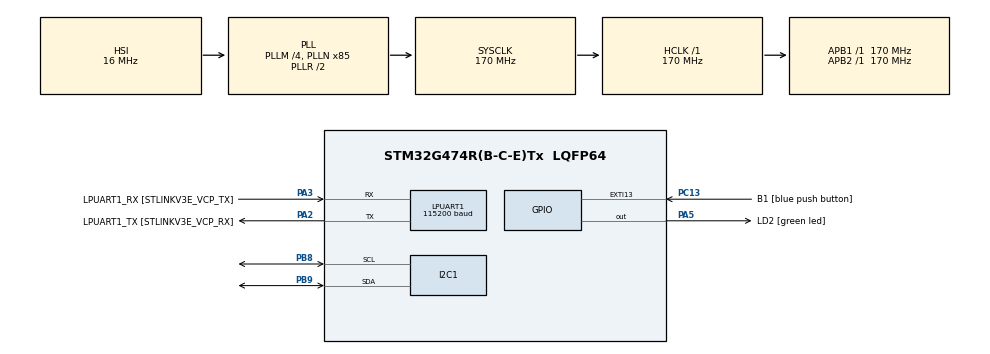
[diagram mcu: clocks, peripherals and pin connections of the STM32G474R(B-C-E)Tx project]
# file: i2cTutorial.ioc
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Dma.I2C1_TX.0.Direction=DMA_MEMORY_TO_PERIPH
Dma.I2C1_TX.0.EventEnable=DISABLE
Dma.I2C1_TX.0.Instance=DMA1_Channel1
Dma.I2C1_TX.0.MemDataAlignment=DMA_MDATAALIGN_BYTE
Dma.I2C1_TX.0.MemInc=DMA_MINC_ENABLE
Dma.I2C1_TX.0.Mode=DMA_NORMAL
Dma.I2C1_TX.0.PeriphDataAlignment=DMA_PDATAALIGN_BYTE
Dma.I2C1_TX.0.PeriphInc=DMA_PINC_DISABLE
Dma.I2C1_TX.0.Polarity=HAL_DMAMUX_REQ_GEN_RISING
Dma.I2C1_TX.0.Priority=DMA_PRIORITY_LOW
Dma.I2C1_TX.0.RequestNumber=1
Dma.I2C1_TX.0.SignalID=NONE
Dma.I2C1_TX.0.SyncEnable=DISABLE
Dma.I2C1_TX.0.SyncPolarity=HAL_DMAMUX_SYNC_NO_EVENT
Dma.I2C1_TX.0.SyncRequestNumber=1
Dma.I2C1_TX.0.SyncSignalID=NONE
Dma.LPUART1_RX.1.Direction=DMA_PERIPH_TO_MEMORY
Dma.LPUART1_RX.1.EventEnable=DISABLE
Dma.LPUART1_RX.1.Instance=DMA1_Channel2
Dma.LPUART1_RX.1.MemDataAlignment=DMA_MDATAALIGN_BYTE
Dma.LPUART1_RX.1.MemInc=DMA_MINC_ENABLE
Dma.LPUART1_RX.1.Mode=DMA_NORMAL
Dma.LPUART1_RX.1.PeriphDataAlignment=DMA_PDATAALIGN_BYTE
Dma.LPUART1_RX.1.PeriphInc=DMA_PINC_DISABLE
Dma.LPUART1_RX.1.Polarity=HAL_DMAMUX_REQ_GEN_RISING
Dma.LPUART1_RX.1.Priority=DMA_PRIORITY_LOW
Dma.LPUART1_RX.1.RequestNumber=1
Dma.LPUART1_RX.1.SignalID=NONE
Dma.LPUART1_RX.1.SyncEnable=DISABLE
Dma.LPUART1_RX.1.SyncPolarity=HAL_DMAMUX_SYNC_NO_EVENT
Dma.LPUART1_RX.1.SyncRequestNumber=1
Dma.LPUART1_RX.1.SyncSignalID=NONE
Dma.LPUART1_TX.2.Direction=DMA_MEMORY_TO_PERIPH
Dma.LPUART1_TX.2.EventEnable=DISABLE
Dma.LPUART1_TX.2.Instance=DMA1_Channel3
Dma.LPUART1_TX.2.MemDataAlignment=DMA_MDATAALIGN_BYTE
Dma.LPUART1_TX.2.MemInc=DMA_MINC_ENABLE
Dma.LPUART1_TX.2.Mode=DMA_NORMAL
Dma.LPUART1_TX.2.PeriphDataAlignment=DMA_PDATAALIGN_BYTE
Dma.LPUART1_TX.2.PeriphInc=DMA_PINC_DISABLE
Dma.LPUART1_TX.2.Polarity=HAL_DMAMUX_REQ_GEN_RISING
Dma.LPUART1_TX.2.Priority=DMA_PRIORITY_LOW
Dma.LPUART1_TX.2.RequestNumber=1
Dma.LPUART1_TX.2.SignalID=NONE
Dma.LPUART1_TX.2.SyncEnable=DISABLE
Dma.LPUART1_TX.2.SyncPolarity=HAL_DMAMUX_SYNC_NO_EVENT
Dma.LPUART1_TX.2.SyncRequestNumber=1
Dma.LPUART1_TX.2.SyncSignalID=NONE
Dma.Request0=I2C1_TX
Dma.Request1=LPUART1_RX
Dma.Request2=LPUART1_TX
I2C1.I2C_Fall_Time=0
I2C1.I2C_Rise_Time=0
I2C1.Timing=0x30A0A7FB
LPUART1.BaudRate=115200
Mcu.Family=STM32G4
Mcu.Name=STM32G474R(B-C-E)Tx
Mcu.Package=LQFP64
NVIC.DMA1_Channel1_IRQn=true\:0\:0\:false\:true\:true\:2\:false\:true\:true
NVIC.DMA1_Channel2_IRQn=true\:0\:0\:false\:false\:true\:false\:true\:true
NVIC.DMA1_Channel3_IRQn=true\:0\:0\:false\:false\:true\:false\:true\:true
NVIC.EXTI15_10_IRQn=true\:0\:0\:false\:false\:true\:true\:true\:true
NVIC.I2C1_EV_IRQn=true\:0\:0\:false\:true\:true\:1\:true\:true\:true
NVIC.LPUART1_IRQn=true\:0\:0\:false\:true\:true\:3\:true\:true\:true
NVIC.PriorityGroup=NVIC_PRIORITYGROUP_4
PA13.GPIO_Label=T_SWDIO
PA13.Mode=Serial_Wire
PA13.Signal=SYS_JTMS-SWDIO
PA14.GPIO_Label=T_SWCLK
PA14.Mode=Serial_Wire
PA14.Signal=SYS_JTCK-SWCLK
PA2.GPIO_Label=LPUART1_TX [STLINKV3E_VCP_RX]
PA2.Mode=Asynchronous
PA2.Signal=LPUART1_TX
PA3.GPIO_Label=LPUART1_RX [STLINKV3E_VCP_TX]
PA3.Mode=Asynchronous
PA3.Signal=LPUART1_RX
PA5.GPIO_Label=LD2 [green led]
PA5.Signal=GPIO_Output
PB3.GPIO_Label=T_SWO
PB3.Signal=SYS_JTDO-SWO
PB8-BOOT0.GPIO_Pu=GPIO_PULLUP
PB8-BOOT0.GPIO_Speed=GPIO_SPEED_FREQ_VERY_HIGH
PB8-BOOT0.Mode=I2C
PB8-BOOT0.Signal=I2C1_SCL
PB9.Mode=I2C
PB9.Signal=I2C1_SDA
PC13.GPIO_Label=B1 [blue push button]
PC13.Signal=GPXTI13
PC14-OSC32_IN.GPIO_Label=RCC_OSC32_IN
PC14-OSC32_IN.Mode=LSE-External-Oscillator
PC14-OSC32_IN.Signal=RCC_OSC32_IN
PC15-OSC32_OUT.GPIO_Label=RCC_OSC32_OUT
PC15-OSC32_OUT.Mode=LSE-External-Oscillator
PC15-OSC32_OUT.Signal=RCC_OSC32_OUT
PF0-OSC_IN.GPIO_Label=RCC_OSC_IN
PF0-OSC_IN.Mode=HSE-External-Oscillator
PF0-OSC_IN.Signal=RCC_OSC_IN
PF1-OSC_OUT.GPIO_Label=RCC_OSC_OUT
PF1-OSC_OUT.Mode=HSE-External-Oscillator
PF1-OSC_OUT.Signal=RCC_OSC_OUT
ProjectManager.HeapSize=0x200
ProjectManager.StackSize=0x400
ProjectManager.TargetToolchain=Makefile
RCC.ADC12Freq_Value=170000000
RCC.ADC345Freq_Value=170000000
RCC.AHBFreq_Value=170000000
RCC.APB1Freq_Value=170000000
RCC.APB1TimFreq_Value=170000000
RCC.APB2Freq_Value=170000000
RCC.APB2TimFreq_Value=170000000
RCC.CortexFreq_Value=170000000
RCC.EXTERNAL_CLOCK_VALUE=12288000
RCC.HCLKFreq_Value=170000000
RCC.HSE_VALUE=24000000
RCC.HSI48_VALUE=48000000
RCC.HSI_VALUE=16000000
RCC.PLLM=RCC_PLLM_DIV4
RCC.PLLN=85
RCC.RTCClockSelection=RCC_RTCCLKSOURCE_LSE
RCC.SYSCLKFreq_VALUE=170000000
RCC.SYSCLKSource=RCC_SYSCLKSOURCE_PLLCLK
RCC.USBFreq_Value=170000000
RCC.VCOOutputFreq_Value=340000000
RTC.Hours=10
RTC.Minutes=10
RTC.Seconds=10
RTC.Year=20
VP_RTC_VS_RTC_Activate.Mode=RTC_Enabled
VP_RTC_VS_RTC_Calendar.Mode=RTC_Calendar
VP_SYS_VS_DBSignals.Mode=DisableDeadBatterySignals
board=NUCLEO-G474RE

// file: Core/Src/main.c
/* USER CODE BEGIN Header */
/**
  ******************************************************************************
  * @file           : main.c
  * @brief          : Main program body
  ******************************************************************************
  * @attention
  *
  * Copyright (c) 2025 STMicroelectronics.
  * All rights reserved.
  *
  * This software is licensed under terms that can be found in the LICENSE file
  * in the root directory of this software component.
  * If no LICENSE file comes with this software, it is provided AS-IS.
  *
  ******************************************************************************
  */
/* USER CODE END Header */
#include "main.h"
#include "dma.h"
#include "i2c.h"
#include "usart.h"
#include "rtc.h"
#include "gpio.h"

/* USER CODE BEGIN Includes */
#include "stdio.h"
#include <string.h>
#include <stdlib.h>
#include "bmp280.h"
#include "ssd1306_oled.h"
#include "gfx_oled.h"

#include "sun.h"
#include "fonts.h"
/* USER CODE END Includes */

/* USER CODE BEGIN PD */
#define I2C_ADDR 0x76
#define OLED_TESTING 1

#define SCAN_I2C_DEVICES
#ifdef __GNUC__
#define PUTCHAR_PROTOTYPE int __io_putchar(int ch)
#else
#define PUTCHAR_PROTOTYPE int fputc(int ch, FILE *f)
#endif /* __GNUC__ */

#ifndef __UUID_H
#define __UUID_H
//#define STM32_UUID ((uint32_t *)0x1FF0F420)
#define STM32_UUID ((uint32_t *)UID_BASE)
#endif //__UUID_H

#define MAX_UART_LEN    128

// USART FRAME PARSER
#define FRAME_NONE     0
#define FRAME_START    1
#define FRAME_TIME      2
#define FRAME_DATE      3
#define FRAME_END      4

#define SET_TIME_CMD "SET_TIME"
#define SET_DATE_CMD "SET_DATE"

#define TEST_OLED
/* USER CODE END PD */

/* USER CODE BEGIN PV */

//CLOCK
RTC_TimeTypeDef rtcTime;
RTC_DateTypeDef rtcDate;
uint8_t compareSecods;
char timeInfoMess[128];
uint8_t timeSetMess[128];
uint8_t timeInfoLen;

// BMP Data
BMP280_t bmp280;
volatile float temperature;
volatile float pressure;

// OLED Data
char message[128];

uint32_t softTimer;
/* USER CODE END PV */

void SystemClock_Config(void);
static void MX_NVIC_Init(void);
/* USER CODE BEGIN PFP */
uint8_t main_TimeChange();
uint8_t main_ScanI2CDevs();
uint8_t main_TestOled();
uint8_t main_SendInstructions();
/* USER CODE END PFP */

int main(void)
{

  /* MCU Configuration--------------------------------------------------------*/

  /* Reset of all peripherals, Initializes the Flash interface and the Systick. */
  HAL_Init();

  /* Configure the system clock */
  SystemClock_Config();

  /* Initialize all configured peripherals */
  MX_GPIO_Init();
  MX_DMA_Init();
  MX_LPUART1_UART_Init();
  MX_I2C1_Init();
  MX_RTC_Init();

  /* Initialize interrupts */
  MX_NVIC_Init();
  /* USER CODE BEGIN 2 */
#ifdef SCAN_I2C_DEVICES
  main_ScanI2CDevs();
#endif
  // Temp and pressure sensor init:
  BMP280_Init(&bmp280, &hi2c1, I2C_ADDR);

  // Oled display init:
  SSD1306_Init(&hi2c1);
  SSD1306_Clear(BLACK);
  SSD1306_Display();

  // set font of the chars fisplay
  GFX_SetFont(font_8x5);
  GFX_SetFontSize(1);
  // Display each figure at the beginning
#ifdef TEST_OLED
  main_TestOled();
#endif

  // enable command receiving
  HAL_UARTEx_ReceiveToIdle_DMA(&hlpuart1, timeSetMess, MAX_UART_LEN);

  // Display command instructions on uart:
  main_SendInstructions();

  /* USER CODE END 2 */

  /* Infinite loop */
  /* USER CODE BEGIN WHILE */
  while (1)
  {
    HAL_RTC_GetTime(&hrtc, &rtcTime, RTC_FORMAT_BIN);
    HAL_RTC_GetDate(&hrtc, &rtcDate, RTC_FORMAT_BIN);
    if(rtcTime.Seconds != compareSecods) {
      // if second has changed - called every second
      SSD1306_Clear(BLACK);
      timeInfoLen = sprintf(timeInfoMess, "Actual Date and Time: %02d-%02d-20%02d %02d:%02d:%02d\r\n",
                                                                    rtcDate.Date,
                                                                    rtcDate.Month,
                                                                    rtcDate.Year,
                                                                    rtcTime.Hours,
                                                                    rtcTime.Minutes,
                                                                    rtcTime.Seconds
                                                                    );
      HAL_UART_Transmit_DMA(&hlpuart1,timeInfoMess ,timeInfoLen);
      if (bmp280.bmpI2c->State == HAL_I2C_STATE_READY)
      temperature = BMP28_ReadTemperature(&bmp280);
      pressure = BMP28_ReadPressure(&bmp280);
      sprintf(message, "Press: %.2f hpa", pressure);
      GFX_DrawString(0, 0, message, WHITE, BLACK);
      sprintf(message, "Temp: %.2f C", temperature);
      GFX_DrawString(0, 10, message, WHITE, BLACK);
      sprintf(message, "Date: %02d/%02d/20%02d", rtcDate.Date, rtcDate.Month, rtcDate.Year);
      GFX_DrawString(0, 20,  message, WHITE, BLACK);
      sprintf(message, "Time: %02d:%02d:%02d", rtcTime.Hours, rtcTime.Minutes, rtcTime.Seconds);
      GFX_DrawString(0, 30,  message, WHITE, BLACK);
      SSD1306_Display();
      compareSecods = rtcTime.Seconds;
    }

    // Check if Uart message has been received
    if (rcvMesFlag) {
      main_TimeChange();
    }

    /* USER CODE END WHILE */

  }
}

void SystemClock_Config(void)
{
  RCC_OscInitTypeDef RCC_OscInitStruct = {0};
  RCC_ClkInitTypeDef RCC_ClkInitStruct = {0};

  /** Configure the main internal regulator output voltage
  */
  HAL_PWREx_ControlVoltageScaling(PWR_REGULATOR_VOLTAGE_SCALE1_BOOST);

  /** Configure LSE Drive Capability
  */
  HAL_PWR_EnableBkUpAccess();
  __HAL_RCC_LSEDRIVE_CONFIG(RCC_LSEDRIVE_LOW);

  /** Initializes the RCC Oscillators according to the specified parameters
  * in the RCC_OscInitTypeDef structure.
  */
  RCC_OscInitStruct.OscillatorType = RCC_OSCILLATORTYPE_HSI|RCC_OSCILLATORTYPE_LSE;
  RCC_OscInitStruct.LSEState = RCC_LSE_ON;
  RCC_OscInitStruct.HSIState = RCC_HSI_ON;
  RCC_OscInitStruct.HSICalibrationValue = RCC_HSICALIBRATION_DEFAULT;
  RCC_OscInitStruct.PLL.PLLState = RCC_PLL_ON;
  RCC_OscInitStruct.PLL.PLLSource = RCC_PLLSOURCE_HSI;
  RCC_OscInitStruct.PLL.PLLM = RCC_PLLM_DIV4;
  RCC_OscInitStruct.PLL.PLLN = 85;
  RCC_OscInitStruct.PLL.PLLP = RCC_PLLP_DIV2;
  RCC_OscInitStruct.PLL.PLLQ = RCC_PLLQ_DIV2;
  RCC_OscInitStruct.PLL.PLLR = RCC_PLLR_DIV2;
  if (HAL_RCC_OscConfig(&RCC_OscInitStruct) != HAL_OK)
  {
    Error_Handler();
  }

  /** Initializes the CPU, AHB and APB buses clocks
  */
  RCC_ClkInitStruct.ClockType = RCC_CLOCKTYPE_HCLK|RCC_CLOCKTYPE_SYSCLK
                              |RCC_CLOCKTYPE_PCLK1|RCC_CLOCKTYPE_PCLK2;
  RCC_ClkInitStruct.SYSCLKSource = RCC_SYSCLKSOURCE_PLLCLK;
  RCC_ClkInitStruct.AHBCLKDivider = RCC_SYSCLK_DIV1;
  RCC_ClkInitStruct.APB1CLKDivider = RCC_HCLK_DIV1;
  RCC_ClkInitStruct.APB2CLKDivider = RCC_HCLK_DIV1;

  if (HAL_RCC_ClockConfig(&RCC_ClkInitStruct, FLASH_LATENCY_4) != HAL_OK)
  {
    Error_Handler();
  }
}

/**
  * @brief NVIC Configuration.
  * @retval None
  */
static void MX_NVIC_Init(void)
{
  /* I2C1_EV_IRQn interrupt configuration */
  HAL_NVIC_SetPriority(I2C1_EV_IRQn, 0, 0);
  HAL_NVIC_EnableIRQ(I2C1_EV_IRQn);
  /* DMA1_Channel1_IRQn interrupt configuration */
  HAL_NVIC_SetPriority(DMA1_Channel1_IRQn, 0, 0);
  HAL_NVIC_EnableIRQ(DMA1_Channel1_IRQn);
  /* LPUART1_IRQn interrupt configuration */
  HAL_NVIC_SetPriority(LPUART1_IRQn, 0, 0);
  HAL_NVIC_EnableIRQ(LPUART1_IRQn);
}

/* USER CODE BEGIN 4 */
/**
  * @brief  Retargets the C library printf function to the USART.
  * @param  None
  * @retval None
  */
 PUTCHAR_PROTOTYPE
 {
   /* Place your implementation of fputc here */
   /* e.g. write a character to the USART2 and Loop until the end of transmission */
   HAL_UART_Transmit(&hlpuart1, (uint8_t *)&ch, 1, 0xFFFF);

   return ch;
 }
 int _write(int file, char *ptr, int len)
{
    HAL_UART_Transmit(&hlpuart1, (uint8_t *)ptr, len, HAL_MAX_DELAY);
    return len;
}

uint8_t main_TestOled() {

  for (uint8_t i = 0; i < 9; i++) {
    switch(i){
      case 1:
      // ROUND RECTANGLE
        GFX_DrawRoundRect(50, 10, 40, 40, 5, WHITE);
        break;
      case 2:
        GFX_DrawRect(20, 10, 50, 20, WHITE);
        break;
      case 3:
        GFX_DrawCircle(60, 30, 15, WHITE);
        break;
      case 4:
        GFX_FillCircle(60, 30, 15, WHITE);
        break;
      case 5:
        GFX_WriteFillRect(20, 10, 50, 20, WHITE);
        break;
      case 6:
        GFX_FillRoundRect(50, 10, 40, 40, 5, WHITE);
        break;
      case 7:
        GFX_DrawTriangle(5, 5, 60, 5, 30, 30, WHITE);
        break;
      case 8:
        GFX_FillTriangle(5, 5, 60, 5, 30, 30, WHITE);
        break;
    }
    SSD1306_Display();
    HAL_Delay(1000);
    SSD1306_Clear(BLACK);
  }

  return 0;
}

uint8_t main_SendInstructions() {
  printf(" * to set time send: $SET_TIMEHH/MM/SS#\r\n");
  printf(" * to set date send: $SET_DATEDD/MM/YYYY#\r\n");
  return 0;
}

uint8_t main_ScanI2CDevs() {
  char lpuart1Data[24] = "Connected to LPUART One\r\n";
  HAL_UART_Transmit(&hlpuart1, (uint8_t *)&lpuart1Data,sizeof(lpuart1Data), 0xFFFF);

 	printf("\r\n");

 	printf("Scanning I2C bus:\r\n");
	HAL_StatusTypeDef result;
 	uint8_t i, devCnt = 0;
 	for (i=1; i<128; i++)
 	{
 	  /*
 	   * the HAL wants a left aligned i2c address
 	   * &hi2c1 is the handle
 	   * (uint16_t)(i<<1) is the i2c address left aligned
 	   * retries 2
 	   * timeout 2
 	   */
 	  result = HAL_I2C_IsDeviceReady(&hi2c1, (uint16_t)(i<<1), 2, 2);
 	  if (result != HAL_OK) // HAL_ERROR or HAL_BUSY or HAL_TIMEOUT
 	  {
 		  printf("."); // No ACK received at that address
 	  }
 	  if (result == HAL_OK)
 	  {
 		  printf("0x%X", i); // Received an ACK at that address
       devCnt++;
 	  }
 	}
 	printf("\r\n");
  printf("Found available devices: %d\r\n", devCnt);
  return (devCnt > 0) ? 0 : 1;
}

uint8_t main_TimeChange() {
  /* Frame example
  * <Start><Command><Data><Data Size><END>
  * Start     - '$' = 0x24
  * Command   - available: 'SET_TIME' 'SET_DATE'
  * Data      - TIME: 'XX/XX:/XX', DATE: 'DD/MM/YYYY'
  * END       - '#'= 0x23
  *
  * */

  RTC_TimeTypeDef Time;
  RTC_DateTypeDef Date;

  uint8_t command[24];
  uint8_t frameSeq = FRAME_NONE;
  uint8_t j = 0, cnt = 0;;
  uint8_t str[4] = {0, 0, 0, 0};

  for (uint8_t i = 0; i < MAX_UART_LEN; i++) {
    switch (frameSeq) {
      case FRAME_NONE:
        if (timeSetMess[i] == '$') {
          frameSeq = FRAME_START;
        }
        break;

      case FRAME_START:
        command[j] = timeSetMess[i];
        j++;
        if (j == 8 && !strncmp(command, SET_DATE_CMD, 8)) {
          frameSeq = FRAME_DATE;
          j = 0;
        }
        else if (j == 8 && !strncmp(command, SET_TIME_CMD, 8)) {
          frameSeq = FRAME_TIME;
          j = 0;
        }
        else if (j > 8){
          // cmd not recognized!
          j = 0;
          return - 1;
        }
      break;

      case FRAME_DATE:
        if (timeSetMess[i] >= '0' && timeSetMess[i] <= '9') {
          if (j > 4) { return -1; }

          str[j] = timeSetMess[i];
          j++;
        }
        else if (timeSetMess[i] == '/' || timeSetMess[i] == '#') {
          switch (cnt) {
            case 0:
              Date.Date = atoi(str);
              memset(str, 0, sizeof(str));
              cnt++;
              j = 0;
              break;
            case 1:
              Date.Month = atoi(str);
              memset(str, 0, sizeof(str));
              cnt++;
              j = 0;
              break;
            case 2:
              Date.Year = atoi(str + 2);
              memset(str, 0, sizeof(str));
              cnt++;
              j = 0;
              rtcDate.Date = Date.Date;
              rtcDate.Month = Date.Month;
              rtcDate.Year = Date.Year;
              HAL_RTC_SetDate(&hrtc, &rtcDate, RTC_FORMAT_BIN);
              break;
          }
        }
        else {
          // invalid value
          return -1;
        }
      break;

      case FRAME_TIME:
        if (timeSetMess[i] >= '0' && timeSetMess[i] <= '9') {
          if (j > 4) { return -1; }

          str[j] = timeSetMess[i];
          j++;
        }
        else if (timeSetMess[i] == '/' || timeSetMess[i] == '#') {
          switch (cnt) {
            case 0:
              Time.Hours = atoi(str);
              memset(str, 0, sizeof(str));
              cnt++;
              j = 0;
              break;
            case 1:
              Time.Minutes = atoi(str);
              memset(str, 0, sizeof(str));
              cnt++;
              j = 0;
              break;
            case 2:
              Time.Seconds = atoi(str);
              memset(str, 0, sizeof(str));
              cnt++;
              j = 0;
              rtcTime.Hours = Time.Hours;
              rtcTime.Minutes = Time.Minutes;
              rtcTime.Seconds = Time.Seconds;
              HAL_RTC_SetTime(&hrtc, &rtcTime, RTC_FORMAT_BIN);
              break;
          }
        }
        else {
          // invalid value
          return -1;
        }
      break;
    }
    if (cnt == 3) {
      memset(timeSetMess, 0, 128);
      return 0;
    }

  }
  return 0;
}
/* USER CODE END 4 */

void Error_Handler(void)
{
  __disable_irq();
  while (1)
  {
  }
}
